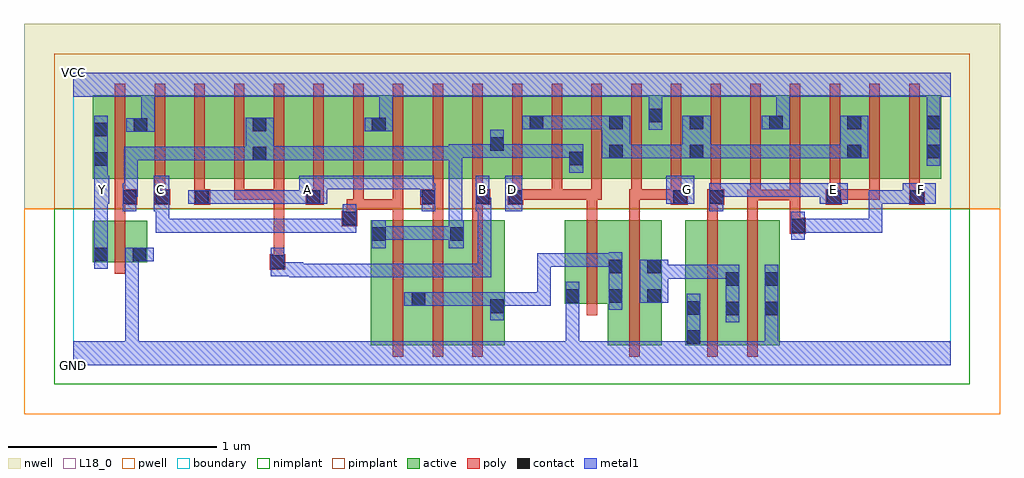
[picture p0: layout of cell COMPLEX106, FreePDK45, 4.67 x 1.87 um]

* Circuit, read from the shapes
.subckt COMPLEX106 A B C D E F G GND VCC Y
M1 GND n1 Y VSUBS nfet w=0.2u l=0.05u
M2 n2 C n1 VSUBS nfet w=0.6u l=0.05u
M3 n1 A n2 VSUBS nfet w=0.6u l=0.05u
M4 n2 B n1 VSUBS nfet w=0.6u l=0.05u
M5 n2 D GND VSUBS nfet w=0.4u l=0.05u
M6 n3 G n2 VSUBS nfet w=0.6u l=0.05u
M7 n3 E GND VSUBS nfet w=0.6u l=0.05u
M8 GND F n3 VSUBS nfet w=0.6u l=0.05u
M9 VCC n1 Y n4 pfet w=0.4u l=0.05u
M10 n5 C VCC n4 pfet w=0.4u l=0.05u
M11 n6 A n5 n4 pfet w=0.4u l=0.05u
M12 n1 B n6 n4 pfet w=0.4u l=0.05u
M13 n7 B n1 n4 pfet w=0.4u l=0.05u
M14 n8 A n7 n4 pfet w=0.4u l=0.05u
M15 VCC C n8 n4 pfet w=0.4u l=0.05u
M16 n9 C VCC n4 pfet w=0.4u l=0.05u
M17 n10 A n9 n4 pfet w=0.4u l=0.05u
M18 n1 B n10 n4 pfet w=0.4u l=0.05u
M19 n11 D n1 n4 pfet w=0.4u l=0.05u m=3
M20 VCC G n11 n4 pfet w=0.4u l=0.05u m=2
M21 n12 E n11 n4 pfet w=0.4u l=0.05u
M22 VCC F n12 n4 pfet w=0.4u l=0.05u
M23 n13 F VCC n4 pfet w=0.4u l=0.05u
M24 n11 E n13 n4 pfet w=0.4u l=0.05u
M25 n14 E n11 n4 pfet w=0.4u l=0.05u
M26 VCC F n14 n4 pfet w=0.4u l=0.05u
.ends

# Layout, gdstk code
import gdstk
lib = gdstk.Library(unit=1e-6, precision=1e-09)
def R(c, l, rs):  # rectangles x0, y0, x1, y1
    for r in rs: c.add(gdstk.rectangle(r[:2], r[2:], *l))
def A(c, l, x, y, w, h, nx, ny, dx, dy):  # array of equal rectangles
    R(c, l, [(x+i*dx, y+j*dy, x+i*dx+w, y+j*dy+h) for i in range(nx) for j in range(ny)])
active = (1, 0)
pwell = (2, 0)
nwell = (3, 0)
nimplant = (4, 0)
pimplant = (5, 0)
poly = (9, 0)
contact = (10, 0)
metal1 = (11, 0)
L18_0 = (18, 0)
boundary = (235, 0)

complex106 = lib.new_cell('COMPLEX106')
A(complex106, active, 0.285, 0.892, 0.225, 0.4, 3, 1, 0.57, 0)
A(complex106, active, 0.51, 0.892, 0.19, 0.4, 3, 1, 0.57, 0)
A(complex106, active, 1.99, 0.892, 0.265, 0.4, 4, 1, 0.19, 0)
R(complex106, active, [(1.425,0.095,1.5,0.695), (1.425,0.095,1.69,0.695), (1.615,0.095,1.875,0.695), (1.615,0.095,1.69,0.68), (1.8,0.095,1.875,0.695), (1.8,0.095,2.065,0.695), (1.99,0.095,2.065,0.695), (2.557,0.095,2.817,0.695), (2.742,0.095,2.817,0.695), (2.93,0.095,3.005,0.695), (2.93,0.095,3.192,0.695), (3.117,0.095,3.192,0.695), (3.117,0.095,3.38,0.695), (3.305,0.095,3.38,0.695), (2.557,0.2,2.632,0.695), (2.352,0.295,2.632,0.695), (2.352,0.295,2.427,0.695), (0.095,0.492,0.17,0.692), (0.095,0.492,0.355,0.692), (0.28,0.492,0.355,0.692), (0.095,0.892,0.17,1.2), (0.095,0.892,0.36,1.292), (0.7,0.892,0.93,1.292), (0.855,0.892,0.93,1.2), (1.27,0.892,1.5,1.292), (1.425,0.892,1.5,1.292), (1.84,0.892,2.065,1.292), (1.99,0.892,2.065,1.2), (2.18,0.892,2.255,1.2), (2.37,0.892,2.445,1.07), (2.56,0.892,2.635,1.2), (2.75,0.892,2.825,1.292), (2.75,0.892,3.02,1.292), (2.945,0.892,3.17,1.292), (2.945,0.892,3.02,1.2), (3.17,0.892,3.4,1.292), (3.325,0.892,3.4,1.292), (3.325,0.892,3.55,1.292), (3.55,0.892,3.775,1.292), (3.7,0.892,3.93,1.292), (3.7,0.892,3.775,1.2), (3.93,0.892,4.155,1.292), (4.08,0.892,4.155,1.292), (0.285,0.907,0.36,1.205)])
R(complex106, pwell, [(-0.235,-0.235,4.435,0.75)])
R(complex106, nwell, [(-0.235,0.75,4.435,1.635)])
R(complex106, nimplant, [(-0.09,-0.09,4.29,0.75)])
R(complex106, pimplant, [(-0.09,0.75,4.29,1.49)])
A(complex106, poly, 1.53, 0.04, 0.05, 0.71, 3, 1, 0.19, 0)
A(complex106, poly, 0.2, 0.792, 0.05, 0.095, 6, 1, 0.19, 0)
A(complex106, poly, 1.72, 0.792, 0.05, 0.095, 8, 1, 0.19, 0)
A(complex106, poly, 3.62, 0.792, 0.05, 0.095, 3, 1, 0.19, 0)
A(complex106, poly, 0.2, 0.837, 0.05, 0.51, 21, 1, 0.19, 0)
R(complex106, poly, [(2.662,0.04,2.712,0.75), (3.035,0.04,3.085,0.75), (3.225,0.04,3.275,0.75), (2.457,0.24,2.507,0.75), (0.2,0.437,0.25,0.747), (0.94,0.457,1.015,0.532), (0.96,0.482,1.01,0.842), (3.43,0.63,3.505,0.705), (3.43,0.655,3.48,0.84), (1.285,0.665,1.36,0.74), (1.31,0.69,1.36,0.74), (1.31,0.69,1.36,0.74), (1.31,0.69,1.36,0.795), (0.2,0.697,0.25,0.817), (1.53,0.7,1.58,0.795), (1.72,0.7,1.77,0.817), (1.91,0.7,1.96,0.817), (2.457,0.7,2.507,0.842), (2.662,0.7,2.712,0.842), (3.035,0.7,3.085,0.817), (3.225,0.7,3.275,0.84), (1.31,0.745,1.39,0.795), (1.34,0.745,1.39,0.795), (1.34,0.745,1.39,0.795), (1.34,0.745,1.58,0.795), (1.34,0.745,1.39,0.887), (1.53,0.745,1.58,0.795), (1.53,0.745,1.58,0.887), (0.2,0.767,0.307,0.842), (0.39,0.767,0.465,0.842), (0.58,0.767,0.655,0.842), (1.112,0.767,1.2,0.842), (1.662,0.767,1.77,0.842), (1.91,0.767,1.997,0.842), (2.08,0.767,2.155,0.842), (2.86,0.767,2.942,0.842), (3.035,0.767,3.115,0.842), (3.602,0.767,3.677,0.842), (4,0.767,4.075,0.842), (3.225,0.79,3.29,0.84), (3.24,0.79,3.29,0.84), (3.24,0.79,3.29,0.84), (3.24,0.79,3.29,0.887), (3.24,0.79,3.48,0.84), (3.43,0.79,3.48,0.84), (3.43,0.79,3.48,0.84), (3.43,0.79,3.48,0.84), (3.43,0.79,3.48,0.887), (0.77,0.792,0.82,0.842), (0.77,0.792,0.82,0.842), (0.77,0.792,0.82,0.842), (0.77,0.792,1.01,0.842), (0.96,0.792,1.01,0.842), (0.96,0.792,1.01,0.842), (0.96,0.792,1.01,0.842), (2.105,0.792,2.34,0.842), (2.29,0.792,2.34,0.842), (2.29,0.792,2.34,0.842), (2.29,0.792,2.34,0.842), (2.29,0.792,2.507,0.842), (2.457,0.792,2.507,0.842), (2.457,0.792,2.507,0.842), (2.457,0.792,2.53,0.842), (2.662,0.792,2.72,0.842), (2.67,0.792,2.72,0.842), (2.67,0.792,2.72,0.842), (2.67,0.792,2.91,0.842), (3.627,0.792,3.86,0.842), (3.81,0.792,3.86,0.842), (3.81,0.792,3.86,0.842), (3.81,0.792,3.86,0.842)])
R(complex106, contact, [(2.935,0.102,3,0.167), (3.122,0.24,3.187,0.305), (3.31,0.24,3.375,0.305), (2.935,0.242,3,0.307), (1.995,0.25,2.06,0.315), (1.62,0.285,1.685,0.35), (2.357,0.3,2.422,0.365), (2.562,0.3,2.627,0.365), (2.747,0.3,2.812,0.365), (3.122,0.38,3.187,0.445), (3.31,0.38,3.375,0.445), (2.562,0.44,2.627,0.505), (2.747,0.44,2.812,0.505), (0.945,0.462,1.01,0.527), (0.1,0.497,0.165,0.562), (0.285,0.497,0.35,0.562), (1.43,0.595,1.495,0.66), (1.805,0.595,1.87,0.66), (3.435,0.635,3.5,0.7), (1.29,0.67,1.355,0.735), (0.237,0.772,0.302,0.837), (0.395,0.772,0.46,0.837), (0.585,0.772,0.65,0.837), (1.117,0.772,1.182,0.837), (1.667,0.772,1.732,0.837), (1.927,0.772,1.992,0.837), (2.085,0.772,2.15,0.837), (2.872,0.772,2.937,0.837), (3.045,0.772,3.11,0.837), (3.607,0.772,3.672,0.837), (4.005,0.772,4.07,0.837), (0.1,0.955,0.165,1.02), (2.375,0.957,2.44,1.022), (0.86,0.98,0.925,1.045), (2.565,0.99,2.63,1.055), (2.95,0.99,3.015,1.055), (3.705,0.99,3.77,1.055), (4.085,0.99,4.15,1.055), (1.995,1.027,2.06,1.092), (0.1,1.095,0.165,1.16), (0.29,1.117,0.355,1.182), (0.86,1.12,0.925,1.185), (1.43,1.12,1.495,1.185), (2.185,1.13,2.25,1.195), (2.565,1.13,2.63,1.195), (2.95,1.13,3.015,1.195), (3.33,1.13,3.395,1.195), (3.705,1.13,3.77,1.195), (4.085,1.13,4.15,1.195), (2.755,1.162,2.82,1.227)])
R(complex106, metal1, [(0,0,4.2,0.115), (0.25,0.05,0.315,0.115), (0.25,0.05,0.315,0.115), (0.25,0.05,0.315,0.115), (0.25,0.05,0.315,0.115), (0.25,0.05,0.315,0.115), (0.25,0.05,0.315,0.115), (0.25,0.05,0.315,0.562), (2.357,0.05,2.422,0.115), (2.357,0.05,2.422,0.115), (2.357,0.05,2.422,0.33), (2.935,0.05,3,0.132), (3.31,0.05,3.375,0.27), (2.935,0.067,3,0.342), (3.122,0.205,3.187,0.48), (3.31,0.205,3.375,0.48), (1.995,0.215,2.06,0.35), (2.357,0.265,2.422,0.4), (2.562,0.265,2.627,0.54), (1.585,0.285,1.72,0.35), (1.655,0.285,1.72,0.35), (1.655,0.285,1.72,0.35), (1.655,0.285,1.862,0.35), (1.797,0.285,1.862,0.35), (1.797,0.285,1.995,0.35), (1.93,0.285,1.995,0.35), (1.93,0.285,2.06,0.35), (1.995,0.285,2.285,0.35), (2.22,0.285,2.285,0.35), (2.22,0.285,2.285,0.35), (2.22,0.285,2.285,0.35), (2.22,0.285,2.285,0.537), (2.712,0.3,2.847,0.505), (2.782,0.415,2.902,0.48), (2.837,0.415,2.902,0.48), (2.837,0.415,3.05,0.48), (2.985,0.415,3.05,0.48), (2.985,0.415,3.05,0.48), (2.985,0.415,3.05,0.48), (2.985,0.415,3.187,0.48), (1.035,0.422,1.1,0.487), (1.035,0.422,1.217,0.487), (1.035,0.422,1.1,0.492), (1.152,0.422,1.217,0.487), (1.152,0.422,1.237,0.487), (1.172,0.422,1.237,0.487), (1.172,0.422,1.375,0.487), (1.31,0.422,1.375,0.487), (1.31,0.422,1.512,0.487), (1.447,0.422,1.512,0.487), (1.447,0.422,1.512,0.487), (1.447,0.422,1.512,0.487), (1.447,0.422,1.725,0.487), (1.66,0.422,1.725,0.487), (1.66,0.422,1.725,0.487), (1.66,0.422,1.725,0.487), (1.66,0.422,1.862,0.487), (1.797,0.422,1.862,0.487), (1.797,0.422,1.87,0.487), (1.805,0.422,1.87,0.487), (1.805,0.422,2,0.487), (1.935,0.422,2,0.487), (1.935,0.422,2,0.487), (1.935,0.422,2,0.487), (1.935,0.422,2,0.487), (1.935,0.422,2,0.487), (1.935,0.422,2,0.802), (0.945,0.427,1.01,0.562), (0.945,0.427,1.1,0.492), (1.035,0.427,1.1,0.492), (0.1,0.462,0.165,0.597), (2.22,0.472,2.285,0.537), (2.22,0.472,2.285,0.537), (2.22,0.472,2.285,0.537), (2.22,0.472,2.285,0.537), (2.22,0.472,2.285,0.537), (2.22,0.472,2.422,0.537), (2.357,0.472,2.422,0.537), (2.357,0.472,2.422,0.537), (2.357,0.472,2.422,0.537), (2.357,0.472,2.627,0.537), (2.562,0.472,2.627,0.537), (2.562,0.472,2.627,0.537), (0.25,0.497,0.385,0.562), (0.1,0.532,0.165,0.837), (1.43,0.56,1.495,0.695), (1.797,0.56,1.87,0.695), (1.43,0.6,1.512,0.665), (1.447,0.6,1.512,0.665), (1.447,0.6,1.65,0.665), (1.585,0.6,1.65,0.665), (1.585,0.6,1.65,0.665), (1.585,0.6,1.65,0.665), (1.585,0.6,1.862,0.665), (3.435,0.6,3.5,0.735), (1.797,0.63,1.862,0.695), (1.797,0.63,1.862,0.695), (1.797,0.63,1.862,1.047), (0.395,0.635,0.46,0.7), (0.395,0.635,0.685,0.7), (0.395,0.635,0.46,0.802), (0.62,0.635,0.685,0.7), (0.62,0.635,0.685,0.7), (0.62,0.635,0.685,0.7), (0.62,0.635,0.822,0.7), (0.757,0.635,0.822,0.7), (0.757,0.635,0.822,0.7), (0.757,0.635,0.822,0.7), (0.757,0.635,0.96,0.7), (0.895,0.635,1.1,0.7), (0.895,0.635,0.96,0.7), (1.035,0.635,1.1,0.7), (1.035,0.635,1.147,0.7), (1.082,0.635,1.147,0.7), (1.082,0.635,1.237,0.7), (1.172,0.635,1.237,0.7), (1.172,0.635,1.237,0.7), (1.172,0.635,1.237,0.7), (1.172,0.635,1.355,0.7), (1.29,0.635,1.355,0.77), (3.435,0.635,3.5,0.7), (3.435,0.635,3.5,0.7), (3.435,0.635,3.5,0.7), (3.435,0.635,3.5,0.7), (3.435,0.635,3.637,0.7), (3.572,0.635,3.637,0.7), (3.572,0.635,3.872,0.7), (3.807,0.635,3.872,0.7), (3.807,0.635,3.872,0.837), (0.237,0.737,0.302,0.872), (0.387,0.737,0.46,0.907), (0.395,0.737,0.46,0.802), (0.395,0.737,0.46,0.802), (1.667,0.737,1.732,0.872), (1.927,0.737,2,0.802), (1.927,0.737,1.992,0.907), (1.935,0.737,2,0.802), (2.067,0.737,2.15,0.907), (3.045,0.737,3.11,0.872), (0.1,0.772,0.172,0.907), (0.55,0.772,0.685,0.837), (0.62,0.772,0.685,0.837), (0.62,0.772,0.685,0.837), (0.62,0.772,0.822,0.837), (0.757,0.772,0.962,0.837), (0.757,0.772,0.822,0.837), (0.757,0.772,0.822,0.837), (0.757,0.772,0.822,0.837), (0.897,0.772,0.962,0.837), (0.897,0.772,1.097,0.837), (1.032,0.772,1.097,0.837), (1.032,0.772,1.147,0.837), (1.082,0.772,1.217,0.907), (2.837,0.772,2.972,0.907), (3.572,0.772,3.707,0.872), (3.807,0.772,4.012,0.837), (3.807,0.772,3.872,0.837), (3.807,0.772,3.872,0.837), (3.807,0.772,3.872,0.837), (3.947,0.772,4.035,0.837), (3.947,0.772,4.012,0.837), (3.97,0.772,4.127,0.872), (0.237,0.807,0.31,0.872), (0.245,0.807,0.31,0.872), (0.245,0.807,0.31,1.045), (1.66,0.807,1.732,0.872), (1.66,0.807,1.725,0.907), (3.045,0.807,3.187,0.872), (3.122,0.807,3.187,0.872), (3.122,0.807,3.325,0.872), (3.26,0.807,3.325,0.872), (3.26,0.807,3.325,0.872), (3.26,0.807,3.325,0.872), (3.26,0.807,3.462,0.872), (3.397,0.807,3.462,0.872), (3.397,0.807,3.462,0.872), (3.397,0.807,3.462,0.872), (3.397,0.807,3.637,0.872), (0.1,0.842,0.165,0.985), (1.152,0.842,1.237,0.907), (1.172,0.842,1.237,0.907), (1.172,0.842,1.375,0.907), (1.31,0.842,1.375,0.907), (1.31,0.842,1.375,0.907), (1.31,0.842,1.375,0.907), (1.31,0.842,1.512,0.907), (1.447,0.842,1.512,0.907), (1.447,0.842,1.725,0.907), (0.1,0.92,0.165,1.195), (2.375,0.922,2.44,1.057), (4.085,0.955,4.15,1.23), (0.245,0.98,0.31,1.045), (0.245,0.98,0.46,1.045), (0.395,0.98,0.46,1.045), (0.395,0.98,0.46,1.045), (0.395,0.98,0.46,1.045), (0.395,0.98,0.597,1.045), (0.532,0.98,0.597,1.045), (0.532,0.98,0.597,1.045), (0.532,0.98,0.597,1.045), (0.532,0.98,0.822,1.045), (0.757,0.98,0.822,1.045), (0.757,0.98,0.89,1.045), (0.825,0.98,0.96,1.185), (0.895,0.982,1.1,1.047), (0.895,0.982,0.96,1.047), (0.895,0.982,0.96,1.047), (1.035,0.982,1.1,1.047), (1.035,0.982,1.217,1.047), (1.152,0.982,1.217,1.047), (1.152,0.982,1.237,1.047), (1.172,0.982,1.237,1.047), (1.172,0.982,1.375,1.047), (1.31,0.982,1.375,1.047), (1.31,0.982,1.512,1.047), (1.447,0.982,1.512,1.047), (1.447,0.982,1.512,1.047), (1.447,0.982,1.512,1.047), (1.447,0.982,1.725,1.047), (1.66,0.982,1.725,1.047), (1.66,0.982,1.725,1.047), (1.66,0.982,1.725,1.047), (1.66,0.982,1.862,1.047), (1.797,0.982,1.862,1.057), (2.53,0.99,2.665,1.195), (2.575,0.99,2.64,1.055), (2.575,0.99,2.64,1.055), (2.575,0.99,2.765,1.055), (2.7,0.99,2.765,1.055), (2.7,0.99,2.842,1.055), (2.777,0.99,2.842,1.055), (2.777,0.99,2.902,1.055), (2.837,0.99,2.902,1.055), (2.837,0.99,2.98,1.055), (2.915,0.99,3.05,1.195), (2.985,0.99,3.05,1.055), (2.985,0.99,3.05,1.055), (2.985,0.99,3.187,1.055), (3.122,0.99,3.187,1.055), (3.122,0.99,3.325,1.055), (3.26,0.99,3.325,1.055), (3.26,0.99,3.325,1.055), (3.26,0.99,3.325,1.055), (3.26,0.99,3.462,1.055), (3.397,0.99,3.462,1.055), (3.397,0.99,3.462,1.055), (3.397,0.99,3.462,1.055), (3.397,0.99,3.735,1.055), (3.67,0.99,3.735,1.055), (3.67,0.99,3.735,1.055), (3.67,0.99,3.805,1.195), (1.797,0.992,1.87,1.057), (1.805,0.992,1.87,1.057), (1.805,0.992,2.06,1.057), (1.995,0.992,2.197,1.057), (1.995,0.992,2.06,1.127), (2.132,0.992,2.197,1.057), (2.132,0.992,2.197,1.057), (2.132,0.992,2.197,1.057), (2.132,0.992,2.44,1.057), (2.375,0.992,2.44,1.057), (2.375,0.992,2.44,1.057), (0.255,1.117,0.39,1.182), (0.325,1.117,0.39,1.35), (1.395,1.12,1.53,1.185), (1.465,1.12,1.53,1.35), (2.755,1.127,2.82,1.262), (2.15,1.13,2.285,1.195), (2.22,1.13,2.457,1.195), (2.392,1.13,2.457,1.195), (2.392,1.13,2.457,1.195), (2.392,1.13,2.457,1.195), (2.392,1.13,2.595,1.195), (2.53,1.13,2.595,1.195), (2.53,1.13,2.595,1.195), (3.295,1.13,3.43,1.195), (3.365,1.13,3.43,1.35), (4.085,1.165,4.15,1.35), (2.755,1.197,2.82,1.35), (0,1.285,4.2,1.4)])
R(complex106, L18_0, [(0,0,4.2,0.115), (0.25,0.05,0.315,0.115), (0.25,0.05,0.315,0.115), (0.25,0.05,0.315,0.115), (0.25,0.05,0.315,0.115), (0.25,0.05,0.315,0.115), (0.25,0.05,0.315,0.115), (0.25,0.05,0.315,0.562), (2.357,0.05,2.422,0.115), (2.357,0.05,2.422,0.115), (2.357,0.05,2.422,0.33), (2.935,0.05,3,0.132), (3.31,0.05,3.375,0.27), (2.935,0.067,3,0.342), (3.31,0.205,3.375,0.48), (2.357,0.265,2.422,0.4), (1.035,0.422,1.1,0.487), (1.035,0.422,1.1,0.492), (1.035,0.422,1.217,0.487), (1.152,0.422,1.217,0.487), (1.152,0.422,1.237,0.487), (1.172,0.422,1.237,0.487), (1.172,0.422,1.375,0.487), (1.31,0.422,1.375,0.487), (1.31,0.422,1.512,0.487), (1.447,0.422,1.512,0.487), (1.447,0.422,1.512,0.487), (1.447,0.422,1.512,0.487), (1.447,0.422,1.725,0.487), (1.66,0.422,1.725,0.487), (1.66,0.422,1.725,0.487), (1.66,0.422,1.725,0.487), (1.66,0.422,1.862,0.487), (1.797,0.422,1.862,0.487), (1.797,0.422,1.87,0.487), (1.805,0.422,1.87,0.487), (1.805,0.422,2,0.487), (1.935,0.422,2,0.487), (1.935,0.422,2,0.487), (1.935,0.422,2,0.487), (1.935,0.422,2,0.487), (1.935,0.422,2,0.487), (1.935,0.422,2,0.802), (0.945,0.427,1.01,0.562), (0.945,0.427,1.1,0.492), (1.035,0.427,1.1,0.492), (0.1,0.462,0.165,0.597), (0.25,0.497,0.385,0.562), (0.1,0.532,0.165,0.837), (3.435,0.6,3.5,0.735), (0.395,0.635,0.46,0.7), (0.395,0.635,0.46,0.802), (0.395,0.635,0.685,0.7), (0.62,0.635,0.685,0.7), (0.62,0.635,0.685,0.7), (0.62,0.635,0.685,0.7), (0.62,0.635,0.822,0.7), (0.757,0.635,0.822,0.7), (0.757,0.635,0.822,0.7), (0.757,0.635,0.822,0.7), (0.757,0.635,0.96,0.7), (0.895,0.635,0.96,0.7), (0.895,0.635,1.1,0.7), (1.035,0.635,1.1,0.7), (1.035,0.635,1.147,0.7), (1.082,0.635,1.147,0.7), (1.082,0.635,1.237,0.7), (1.172,0.635,1.237,0.7), (1.172,0.635,1.237,0.7), (1.172,0.635,1.237,0.7), (1.172,0.635,1.355,0.7), (1.29,0.635,1.355,0.77), (3.435,0.635,3.5,0.7), (3.435,0.635,3.5,0.7), (3.435,0.635,3.5,0.7), (3.435,0.635,3.5,0.7), (3.435,0.635,3.637,0.7), (3.572,0.635,3.637,0.7), (3.572,0.635,3.872,0.7), (3.807,0.635,3.872,0.7), (3.807,0.635,3.872,0.837), (0.387,0.737,0.46,0.907), (0.395,0.737,0.46,0.802), (0.395,0.737,0.46,0.802), (1.667,0.737,1.732,0.872), (1.927,0.737,2,0.802), (1.927,0.737,1.992,0.907), (1.935,0.737,2,0.802), (2.067,0.737,2.15,0.907), (3.045,0.737,3.11,0.872), (0.1,0.772,0.172,0.907), (0.55,0.772,0.685,0.837), (0.62,0.772,0.685,0.837), (0.62,0.772,0.685,0.837), (0.62,0.772,0.822,0.837), (0.757,0.772,0.822,0.837), (0.757,0.772,0.822,0.837), (0.757,0.772,0.822,0.837), (0.757,0.772,0.962,0.837), (0.897,0.772,0.962,0.837), (0.897,0.772,1.097,0.837), (1.032,0.772,1.097,0.837), (1.032,0.772,1.147,0.837), (1.082,0.772,1.217,0.907), (2.837,0.772,2.972,0.907), (3.572,0.772,3.707,0.872), (3.807,0.772,3.872,0.837), (3.807,0.772,3.872,0.837), (3.807,0.772,3.872,0.837), (3.807,0.772,4.012,0.837), (3.947,0.772,4.012,0.837), (3.947,0.772,4.035,0.837), (3.97,0.772,4.127,0.872), (0.107,0.807,0.172,0.872), (0.387,0.807,0.452,0.872), (1.087,0.807,1.152,0.872), (1.66,0.807,1.725,0.907), (1.66,0.807,1.732,0.872), (1.927,0.807,1.992,0.872), (2.067,0.807,2.132,0.872), (2.907,0.807,2.972,0.872), (3.045,0.807,3.187,0.872), (3.122,0.807,3.187,0.872), (3.122,0.807,3.325,0.872), (3.26,0.807,3.325,0.872), (3.26,0.807,3.325,0.872), (3.26,0.807,3.325,0.872), (3.26,0.807,3.462,0.872), (3.397,0.807,3.462,0.872), (3.397,0.807,3.462,0.872), (3.397,0.807,3.462,0.872), (3.397,0.807,3.637,0.872), (3.607,0.807,3.672,0.872), (4.027,0.807,4.092,0.872), (0.1,0.842,0.165,0.985), (1.152,0.842,1.237,0.907), (1.172,0.842,1.237,0.907), (1.172,0.842,1.375,0.907), (1.31,0.842,1.375,0.907), (1.31,0.842,1.375,0.907), (1.31,0.842,1.375,0.907), (1.31,0.842,1.512,0.907), (1.447,0.842,1.512,0.907), (1.447,0.842,1.725,0.907), (0.1,0.92,0.165,1.195), (4.085,0.955,4.15,1.23), (0.255,1.117,0.39,1.182), (0.325,1.117,0.39,1.35), (1.395,1.12,1.53,1.185), (1.465,1.12,1.53,1.35), (2.755,1.127,2.82,1.262), (3.295,1.13,3.43,1.195), (3.365,1.13,3.43,1.35), (4.085,1.165,4.15,1.35), (2.755,1.197,2.82,1.35), (0,1.285,4.2,1.4)])
R(complex106, boundary, [(0,0,4.2,1.4)])
complex106.add(gdstk.Label('A', (1.12,0.84), layer=11, texttype=0))
complex106.add(gdstk.Label('B', (1.96,0.84), layer=11, texttype=0))
complex106.add(gdstk.Label('C', (0.42,0.84), layer=11, texttype=0))
complex106.add(gdstk.Label('D', (2.1,0.84), layer=11, texttype=0))
complex106.add(gdstk.Label('E', (3.64,0.84), layer=11, texttype=0))
complex106.add(gdstk.Label('F', (4.06,0.84), layer=11, texttype=0))
complex106.add(gdstk.Label('G', (2.94,0.84), layer=11, texttype=0))
complex106.add(gdstk.Label('Y', (0.14,0.84), layer=11, texttype=0))
complex106.add(gdstk.Label('VCC', (0,1.4), layer=11, texttype=0))
complex106.add(gdstk.Label('GND', (0,0), layer=11, texttype=0))

lib.write_gds('COMPLEX106.gds')
